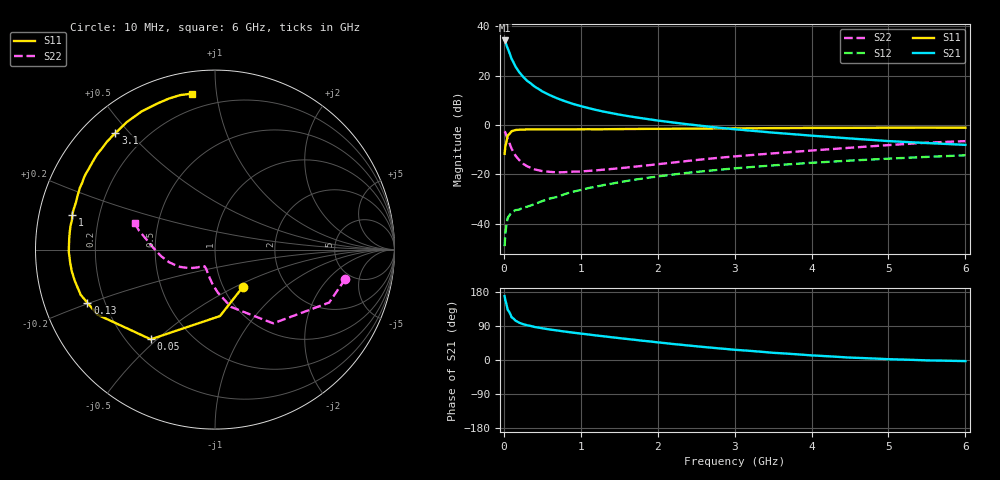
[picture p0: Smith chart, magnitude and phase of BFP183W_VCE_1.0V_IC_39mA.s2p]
! Infineon Technologies  Discrete & RF Semiconductors
! BFP183W
! VCE =  1.0 V,  IC =  39 mA
! Common Emitter S-Parameters:  Jan 2017
# GHz  S  MA  R  50
!  f  S11  S21  S12  S22
! GHz  MAG  ANG  MAG  ANG  MAG  ANG  MAG  ANG
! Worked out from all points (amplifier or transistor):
!   77 points, 10 MHz to 6 GHz, reference 50 ohm
!   highest |S21| = 34.2 dB at 10 MHz (marker M1)
!   |S21| within 3 dB of that: start of sweep to 47.28 MHz
!   unconditionally stable (mu >= 1): start of sweep to 11.4 MHz; 312.1 MHz to end of sweep
!   at 130 MHz: K = 0.55, MSG = 30.0 dB, |S12| = -34.9 dB
!   at 2.2 GHz: K = 1.39, MAG = 6.8 dB, |S12| = -20.1 dB
!   at 6 GHz: K = 1.23, MAG = -0.8 dB, |S12| = -12.3 dB
!   S11 on the Smith chart (normalised r, x): 10 MHz: 1.23, -0.55; 50 MHz: 0.30, -0.48; 130 MHz: 0.13, -0.20; 1 GHz: 0.10, +0.12; 3.1 GHz: 0.10, +0.46; 6 GHz: 0.11, +0.86
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0.01  0.2603 -53.8  51.56 168.6  0.0035 80.3  0.7441 -12.7
0.02  0.3713 -85.7  48.41 156.8  0.0065 69.2  0.7011 -24.9
0.05  0.6147 -125.6  35.61 132.4  0.013 46.0  0.5235 -51.7
0.1  0.7487 -151.0  21.96 113.0  0.0169 39.0  0.3317 -74.4
0.13  0.7702 -157.4  17.97 108.4  0.018 37.4  0.2754 -80.5
0.15  0.7895 -161.4  15.39 104.1  0.0188 36.5  0.2403 -86.2
0.2  0.8008 -167.6  11.75 98.5  0.0193 38.5  0.194 -93.9
0.25  0.8072 -171.6  9.475 94.6  0.0212 39.6  0.1642 -99.8
0.3  0.81 -174.6  7.923 91.8  0.022 42.8  0.1463 -104.4
0.4  0.8147 -179.1  5.989 87.2  0.0249 47.5  0.1257 -111.1
0.5  0.814 177.7  4.793 83.7  0.0287 50.7  0.1162 -115.5
0.6  0.8148 175.1  4.006 80.5  0.0323 54.4  0.1122 -119.4
0.7  0.8152 172.9  3.429 77.7  0.0351 56.9  0.1093 -121.6
0.8  0.8157 170.4  3.008 74.8  0.0401 59.6  0.1108 -122.8
1  0.8182 166.4  2.413 69.7  0.0481 61.4  0.114 -126.3
1.1  0.8191 164.5  2.198 67.3  0.0527 61.5  0.1174 -127.1
1.5  0.8247 157.1  1.621 57.8  0.069 62.6  0.1324 -132.7
2.1  0.8362 146.2  1.175 44.5  0.0946 60.8  0.1666 -142.3
3.1  0.854 130.5  0.794 25.6  0.1358 54.4  0.2375 -158.7
4.1  0.8717 116.7  0.592 11.1  0.1747 47.0  0.3113 -175.2
5.1  0.8799 106.2  0.463 1.6  0.2111 39.3  0.3998 169.9
6  0.8785 98.3  0.395 -2.9  0.2431 32.1  0.4706 161.8
